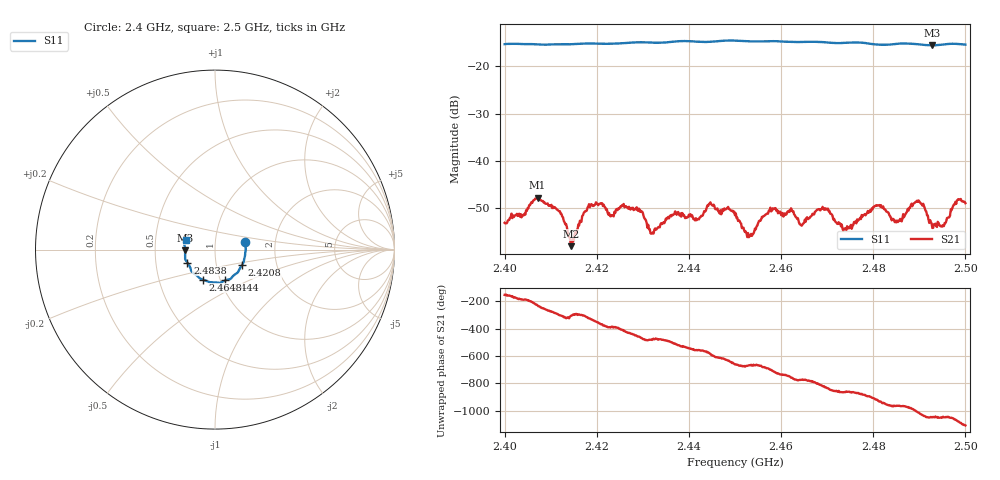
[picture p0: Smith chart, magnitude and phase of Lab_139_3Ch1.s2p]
# Hz S RI R 50
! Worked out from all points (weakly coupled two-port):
!   601 points, 2.4 GHz to 2.5 GHz, reference 50 ohm
!   highest |S21| = -47.78 dB at 2.4072 GHz (marker M1); lowest = -58.0 dB at 2.4145 GHz (marker M2)
!   lowest |S11| = -15.6 dB at 2.4928 GHz (marker M3), VSWR 1.40, Z = 35.7 - j0.301 ohm
!   |S11| at or under -10 dB: start of sweep to end of sweep
!   S12 and S22 are empty: the file has one direction only
!   S11 on the Smith chart (normalised r, x): 2.4 GHz: 1.39, +0.12; 2.4208 GHz: 1.33, -0.24; 2.444 GHz: 1.05, -0.37; 2.4648 GHz: 0.83, -0.29; 2.4838 GHz: 0.73, -0.11; 2.5 GHz: 0.72, +0.08
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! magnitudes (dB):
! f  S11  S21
! 2.4 GHz  -15.3  -53.1
! 2.4072 GHz  -15.4  -47.8
! 2.4118 GHz  -15.3  -50.6
! 2.4145 GHz  -15.3  -58.0
! 2.4167 GHz  -15.2  -52.8
! 2.4208 GHz  -15.2  -48.9
! 2.429 GHz  -14.9  -50.5
! 2.4333 GHz  -15.0  -54.0
! 2.444 GHz  -14.9  -49.4
! 2.45 GHz  -14.6  -51.5
! 2.4532 GHz  -14.7  -55.7
! 2.4582 GHz  -14.7  -50.0
! 2.4648 GHz  -14.9  -53.2
! 2.4667 GHz  -14.8  -51.5
! 2.47 GHz  -15.0  -50.2
! 2.4738 GHz  -15.0  -54.3
! 2.4805 GHz  -15.4  -49.5
! 2.4833 GHz  -15.4  -50.9
! 2.4838 GHz  -15.4  -52.0
! 2.4897 GHz  -15.3  -48.6
! 2.4928 GHz  -15.6  -54.2
! 2.5 GHz  -15.4  -48.9
